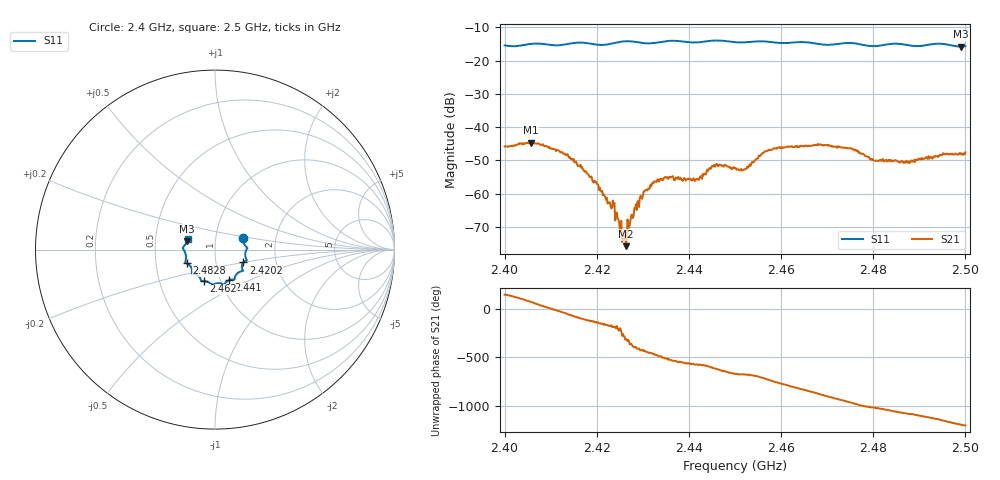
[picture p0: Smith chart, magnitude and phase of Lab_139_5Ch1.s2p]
# Hz S RI R 50
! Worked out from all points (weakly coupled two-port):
!   601 points, 2.4 GHz to 2.5 GHz, reference 50 ohm
!   highest |S21| = -44.67 dB at 2.4057 GHz (marker M1); lowest = -75.8 dB at 2.4263 GHz (marker M2)
!   lowest |S11| = -15.8 dB at 2.499 GHz (marker M3), VSWR 1.39, Z = 36.4 + j3.53 ohm
!   |S11| at or under -10 dB: start of sweep to end of sweep
!   S12 and S22 are empty: the file has one direction only
!   S11 on the Smith chart (normalised r, x): 2.4 GHz: 1.36, +0.17; 2.4202 GHz: 1.36, -0.20; 2.441 GHz: 1.10, -0.39; 2.462 GHz: 0.83, -0.30; 2.4828 GHz: 0.72, -0.11; 2.5 GHz: 0.73, +0.09
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2.4e9  0.1581 0.0621  -0.00409 0.00305  0 0  0 0
2.405667e9  0.1779 0.012  0.0022 0.00541  0 0  0 0
2.412e9  0.1683 -0.0288  0.00367 -0.00215  0 0  0 0
2.416667e9  0.1769 -0.0605  -0.000575 -0.00238  0 0  0 0
2.420167e9  0.1581 -0.0718  -0.00105 -0.000906  0 0  0 0
2.424e9  0.1517 -0.1067  -0.000391 5.16e-05  0 0  0 0
2.426e9  0.1561 -0.1173  6.59e-05 0.000208  0 0  0 0
2.426333e9  0.1563 -0.1179  0.000106 0.000122  0 0  0 0
2.429833e9  0.1373 -0.1239  0.000318 -0.000772  0 0  0 0
2.433333e9  0.1117 -0.1511  -0.000949 -0.00133  0 0  0 0
2.441e9  0.0781 -0.1702  -0.0015 0.000796  0 0  0 0
2.445667e9  0.0508 -0.1944  -0.000714 0.00243  0 0  0 0
2.45e9  0.0278 -0.1875  0.00155 0.00186  0 0  0 0
2.452e9  0.0078 -0.1882  0.00165 0.00162  0 0  0 0
2.457e9  -0.0202 -0.1922  0.00435 -0.000506  0 0  0 0
2.462e9  -0.0609 -0.1755  0.0012 -0.00493  0 0  0 0
2.466667e9  -0.0788 -0.1678  -0.0036 -0.00382  0 0  0 0
2.475167e9  -0.1276 -0.1331  -0.00198 0.00433  0 0  0 0
2.482833e9  -0.1571 -0.0767  0.00242 0.00214  0 0  0 0
2.483333e9  -0.1601 -0.0754  0.00249 0.00205  0 0  0 0
2.499e9  -0.1556 0.0473  -0.00134 -0.00365  0 0  0 0
2.5e9  -0.1525 0.0615  -0.00202 -0.00364  0 0  0 0
